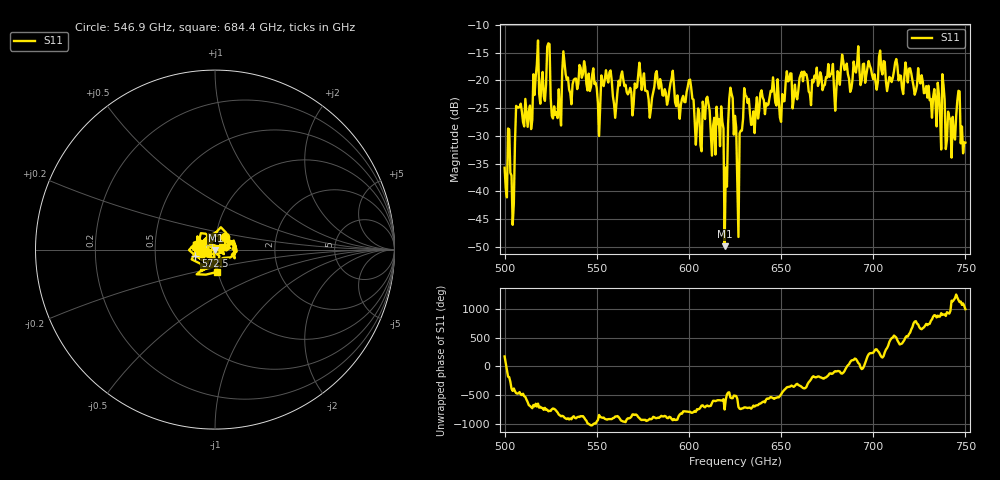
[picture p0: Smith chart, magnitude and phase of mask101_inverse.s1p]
!Created with skrf (http://scikit-rf.org).
# GHz S MA R 50.0
!freq magS11 angS11
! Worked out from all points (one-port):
!   401 points, 500 GHz to 750 GHz, reference 50 ohm
!   lowest |S11| = -49.9 dB at 619.4 GHz (marker M1), VSWR 1.01, Z = 50.3 - j0.161 ohm
!   |S11| at or under -10 dB: start of sweep to end of sweep
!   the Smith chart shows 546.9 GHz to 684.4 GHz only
!   S11 on the Smith chart (normalised r, x): 546.9 GHz: 1.10, +0.16; 572.5 GHz: 0.80, -0.06; 684.4 GHz: 0.99, -0.25
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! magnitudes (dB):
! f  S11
! 500 GHz  -35.8
! 504.4 GHz  -46.1
! 507.5 GHz  -24.9
! 513.8 GHz  -24.5
! 516.9 GHz  -19.3
! 520.6 GHz  -18.5
! 523.8 GHz  -13.3
! 526.9 GHz  -24.7
! 531.2 GHz  -18.4
! 546.9 GHz  -21.1
! 562.5 GHz  -20.9
! 572.5 GHz  -18.9
! 593.8 GHz  -22.7
! 600 GHz  -19.9
! 616.2 GHz  -27.0
! 619.4 GHz  -49.9
! 622.5 GHz  -21.3
! 625 GHz  -26.4
! 627.5 GHz  -29.5
! 631.2 GHz  -22.9
! 634.4 GHz  -27.9
! 656.2 GHz  -25.0
! 684.4 GHz  -18.1
! 687.5 GHz  -22.1
! 718.8 GHz  -20.3
! 743.1 GHz  -26.6
! 746.2 GHz  -21.9
! 750 GHz  -31.2
